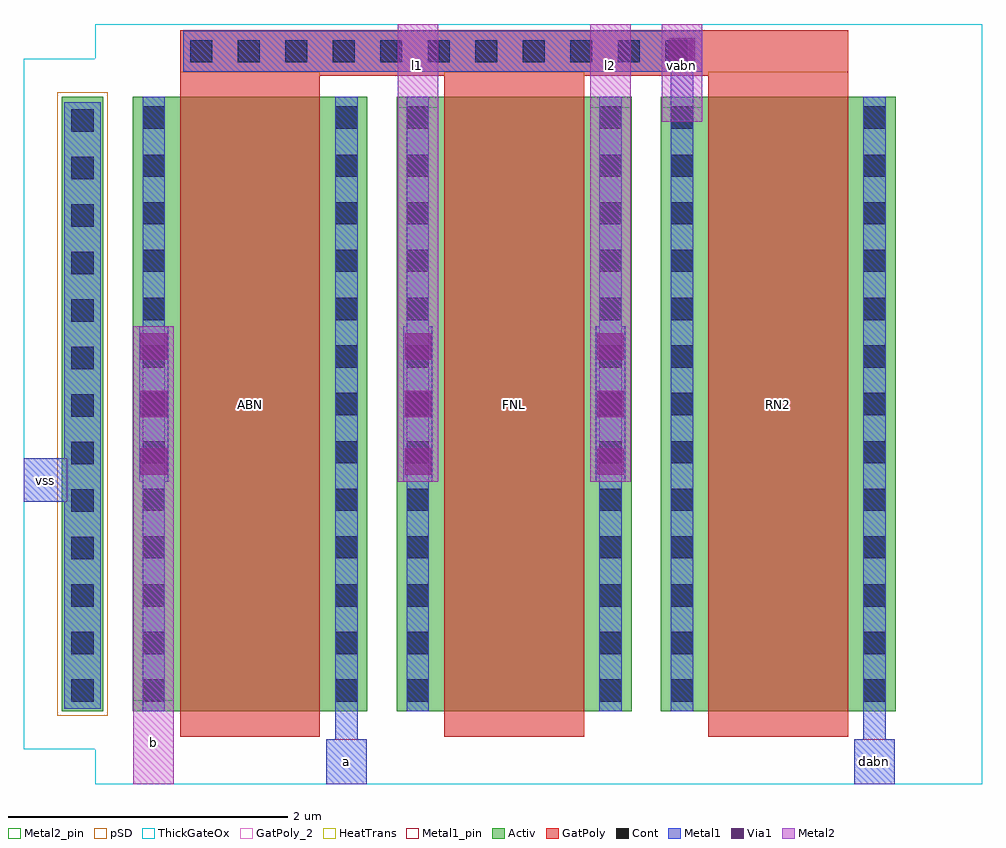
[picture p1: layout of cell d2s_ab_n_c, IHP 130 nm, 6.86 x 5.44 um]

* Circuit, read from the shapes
.subckt d2s_ab_n_c a b dabn l1 l2 vabn vss
XM1 a vabn b vss sg13_hv_nmos w=4.4u l=1u
XM2 l2 vabn l1 vss sg13_hv_nmos w=4.4u l=1u
XM3 dabn vabn vabn vss sg13_hv_nmos w=4.4u l=1u
.ends

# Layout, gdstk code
import gdstk
lib = gdstk.Library(unit=1e-6, precision=1e-09)
def R(c, l, rs):  # rectangles x0, y0, x1, y1
    for r in rs: c.add(gdstk.rectangle(r[:2], r[2:], *l))
def A(c, l, x, y, w, h, nx, ny, dx, dy):  # array of equal rectangles
    R(c, l, [(x+i*dx, y+j*dy, x+i*dx+w, y+j*dy+h) for i in range(nx) for j in range(ny)])
def P(c, l, *ps):  # polygons
    for p in ps: c.add(gdstk.Polygon(p, *l))
Activ = (1, 0)
GatPoly = (5, 0)
GatPoly_2 = (5, 2)
Cont = (6, 0)
Metal1 = (8, 0)
Metal1_pin = (8, 2)
Metal2 = (10, 0)
Metal2_pin = (10, 2)
pSD = (14, 0)
Via1 = (19, 0)
ThickGateOx = (44, 0)
HeatTrans = (51, 0)

nmoshv_3 = lib.new_cell('nmosHV$3')
R(nmoshv_3, Activ, [(0,0,0.3,0.3), (0,0,1.68,4.4), (1.38,0,1.68,0.3)])
R(nmoshv_3, GatPoly, [(0.34,-0.18,1.34,4.58)])
R(nmoshv_3, GatPoly_2, [(0.34,-0.18,1.34,4.58)])
A(nmoshv_3, Cont, 0.07, 0.07, 0.16, 0.16, 1, 3, 0, 0.34)
A(nmoshv_3, Cont, 1.45, 0.07, 0.16, 0.16, 1, 3, 0, 0.34)
A(nmoshv_3, Cont, 0.07, 1.095, 0.16, 0.16, 1, 3, 0, 0.34)
A(nmoshv_3, Cont, 1.45, 1.095, 0.16, 0.16, 1, 3, 0, 0.34)
A(nmoshv_3, Cont, 0.07, 2.12, 0.16, 0.16, 1, 3, 0, 0.34)
A(nmoshv_3, Cont, 1.45, 2.12, 0.16, 0.16, 1, 3, 0, 0.34)
A(nmoshv_3, Cont, 0.07, 3.145, 0.16, 0.16, 1, 3, 0, 0.34)
A(nmoshv_3, Cont, 1.45, 3.145, 0.16, 0.16, 1, 3, 0, 0.34)
R(nmoshv_3, Cont, [(0.07,4.17,0.23,4.33), (1.45,4.17,1.61,4.33)])
R(nmoshv_3, Metal1, [(0.07,0,0.23,4.4), (1.45,0,1.61,4.4)])
R(nmoshv_3, Metal1_pin, [(0.07,0,0.23,4.4), (1.45,0,1.61,4.4)])
R(nmoshv_3, ThickGateOx, [(-0.27,-0.52,1.95,4.92)])
R(nmoshv_3, HeatTrans, [(0.34,-0.18,1.34,4.58)])
nmoshv_3.add(gdstk.Label('nmosHV', (0.84,2.2), layer=63, texttype=0))
nmoshv_3.add(gdstk.Label('nmosHV', (0.84,2.2), layer=51, texttype=0))

d2s_ab_n_c = lib.new_cell('d2s_ab_n_c')
R(d2s_ab_n_c, Activ, [(0.27,0.52,0.57,4.92)])
R(d2s_ab_n_c, GatPoly, [(1.12,5.07,5.9,5.395)])
A(d2s_ab_n_c, Cont, 0.34, 0.59, 0.16, 0.16, 1, 13, 0, 0.34)
A(d2s_ab_n_c, Cont, 1.19, 5.165, 0.16, 0.16, 11, 1, 0.34, 0)
R(d2s_ab_n_c, Metal1, [(2.165,0,2.455,0.32), (2.23,0,2.39,0.52), (5.945,0,6.235,0.32), (6.01,0,6.17,0.52), (0.29,0.54,0.55,4.88), (0,2.02,0.39,2.33), (0.825,2.165,1.035,3.275), (2.715,2.165,2.925,3.275), (4.095,2.165,4.305,3.275), (4.63,4.92,4.79,5.39), (1.14,5.1,4.855,5.39)])
R(d2s_ab_n_c, Metal1_pin, [(2.165,0,2.455,0.32), (5.945,0,6.235,0.32), (0,2.02,0.31,2.33)])
R(d2s_ab_n_c, Metal2, [(0.785,0,1.075,3.275), (2.675,2.165,2.965,5.44), (4.055,2.165,4.345,5.44), (4.565,4.74,4.855,5.44)])
R(d2s_ab_n_c, Metal2_pin, [(0.785,0,1.075,0.6), (2.675,4.84,2.965,5.44), (4.055,4.84,4.345,5.44), (4.565,4.84,4.855,5.44)])
R(d2s_ab_n_c, pSD, [(0.24,0.49,0.6,4.95)])
A(d2s_ab_n_c, Via1, 0.835, 2.215, 0.19, 0.19, 1, 3, 0, 0.41)
A(d2s_ab_n_c, Via1, 2.725, 2.215, 0.19, 0.19, 1, 3, 0, 0.41)
A(d2s_ab_n_c, Via1, 4.105, 2.215, 0.19, 0.19, 1, 3, 0, 0.41)
R(d2s_ab_n_c, Via1, [(4.615,5.15,4.805,5.34)])
R(d2s_ab_n_c, ThickGateOx, [(6.24,0,6.86,5.44)])
P(d2s_ab_n_c, ThickGateOx, [(0.51,0),(0.51,0.25),(0,0.25),(0,5.19),(0.51,5.19),(0.51,5.44),(6.86,5.44),(6.86,0)])
d2s_ab_n_c.add(gdstk.Reference(nmoshv_3, (0.78,0.52)))
d2s_ab_n_c.add(gdstk.Reference(nmoshv_3, (2.67,0.52)))
d2s_ab_n_c.add(gdstk.Reference(nmoshv_3, (4.56,0.52)))
d2s_ab_n_c.add(gdstk.Label('ABN', (1.62,2.72), layer=63, texttype=0))
d2s_ab_n_c.add(gdstk.Label('FNL', (3.51,2.72), layer=63, texttype=0))
d2s_ab_n_c.add(gdstk.Label('RN2', (5.4,2.72), layer=63, texttype=0))
d2s_ab_n_c.add(gdstk.Label('a', (2.31,0.16), layer=8, texttype=25))
d2s_ab_n_c.add(gdstk.Label('dabn', (6.09,0.16), layer=8, texttype=25))
d2s_ab_n_c.add(gdstk.Label('vss', (0.155,2.175), layer=8, texttype=25))
d2s_ab_n_c.add(gdstk.Label('vabn', (4.71,5.14), layer=10, texttype=25))
d2s_ab_n_c.add(gdstk.Label('l1', (2.82,5.14), layer=10, texttype=25))
d2s_ab_n_c.add(gdstk.Label('l2', (4.2,5.14), layer=10, texttype=25))
d2s_ab_n_c.add(gdstk.Label('b', (0.93,0.3), layer=10, texttype=25))

lib.write_gds('d2s_ab_n_c.gds')
